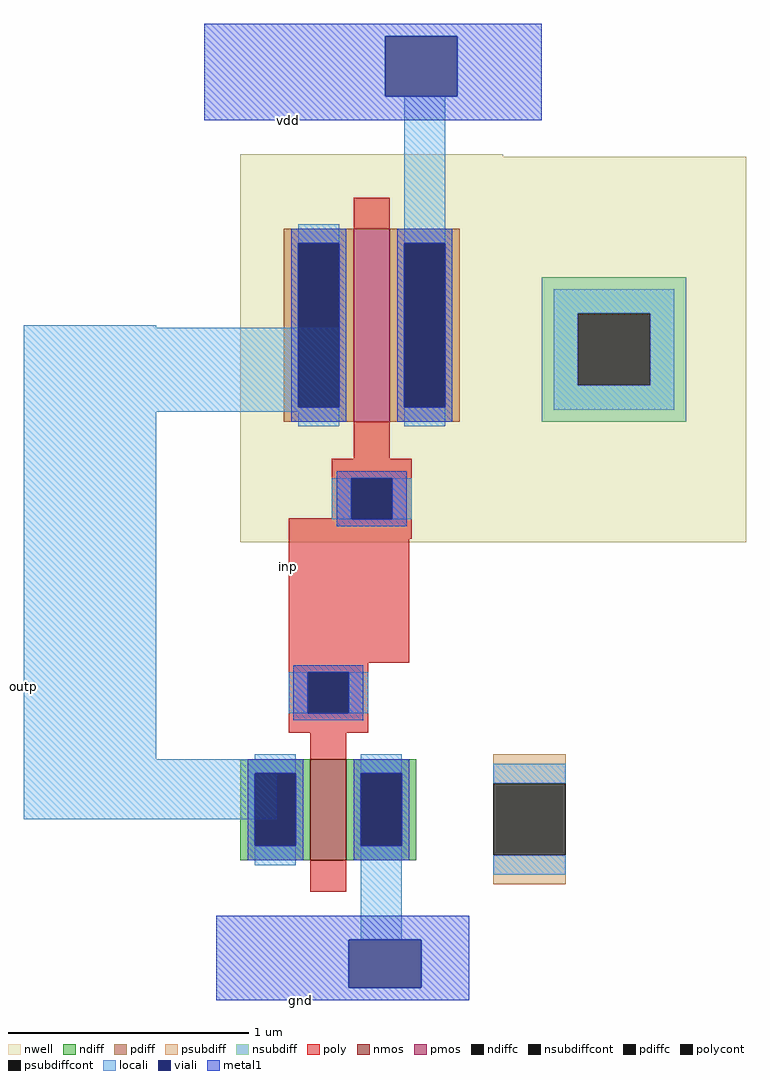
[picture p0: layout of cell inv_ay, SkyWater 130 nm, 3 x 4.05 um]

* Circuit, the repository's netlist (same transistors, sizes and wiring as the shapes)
* SPICE3 file created from inv_ay.ext - technology: sky130A

.subckt sky130_fd_pr__pfet_01v8_L3EZX8 w_n109_n144# a_15_n44# a_n73_n44# a_n33_n141#
+ VSUBS
X0 a_15_n44# a_n33_n141# a_n73_n44# w_n109_n144# sky130_fd_pr__pfet_01v8 ad=2.32e+11p pd=2.18e+06u as=2.32e+11p ps=2.18e+06u w=800000u l=150000u
.ends

.subckt sky130_fd_pr__nfet_01v8_A64BNL a_n33_33# a_15_n73# a_n73_n73# VSUBS
X0 a_15_n73# a_n33_33# a_n73_n73# VSUBS sky130_fd_pr__nfet_01v8 ad=1.218e+11p pd=1.42e+06u as=1.218e+11p ps=1.42e+06u w=420000u l=150000u
.ends

.subckt inv_ay inp vdd outp gnd
Xsky130_fd_pr__pfet_01v8_L3EZX8_0 w_210_280# vdd outp inp sky130_fd_pr__pfet_01v8_L3EZX8_0/VSUBS
+ sky130_fd_pr__pfet_01v8_L3EZX8
Xsky130_fd_pr__nfet_01v8_A64BNL_0 inp gnd outp sky130_fd_pr__pfet_01v8_L3EZX8_0/VSUBS
+ sky130_fd_pr__nfet_01v8_A64BNL
.ends

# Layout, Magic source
magic
tech sky130A
magscale 1 2
<< nwell >>
rect 210 280 420 600
<< psubdiff >>
rect 210 80 270 104
rect 210 -4 270 20
<< nsubdiff >>
rect 250 470 370 500
rect 250 410 280 470
rect 340 410 370 470
rect 250 380 370 410
<< psubdiffcont >>
rect 210 20 270 80
<< nsubdiffcont >>
rect 280 410 340 470
<< poly >>
rect 40 180 140 300
<< locali >>
rect 136 530 170 650
rect 260 470 360 490
rect -180 458 -70 460
rect -180 388 82 458
rect 260 410 280 470
rect 340 410 360 470
rect 260 390 360 410
rect -180 100 -70 388
rect -180 50 30 100
rect 210 80 270 96
rect 100 12 130 20
rect 100 -50 134 12
rect 210 4 270 20
<< viali >>
rect 120 650 180 700
rect 90 -90 150 -50
<< metal1 >>
rect -30 700 250 710
rect -30 650 120 700
rect 180 650 250 700
rect -30 630 250 650
rect -20 -50 190 -30
rect -20 -90 90 -50
rect 150 -90 190 -50
rect -20 -100 190 -90
use sky130_fd_pr__pfet_01v8_L3EZX8  sky130_fd_pr__pfet_01v8_L3EZX8_0
transform 1 0 109 0 1 424
box -109 -144 109 178
use sky130_fd_pr__nfet_01v8_A64BNL  sky130_fd_pr__nfet_01v8_A64BNL_0
transform 1 0 73 0 1 89
box -73 -99 73 99
<< labels >>
rlabel metal1 40 630 40 630 1 vdd
port 2 n
rlabel poly 40 260 40 260 7 inp
port 1 w
rlabel locali -180 160 -180 160 3 outp
port 3 e
rlabel metal1 50 -100 50 -100 5 gnd
port 4 s
<< end >>

# cell sky130_fd_pr__pfet_01v8_L3EZX8: kit device sky130_fd_pr__pfet_01v8, w 0.8 l 0.15 m 1 nf 1 diffcov 100 polycov 100 guard 0 glc 0 grc 0 gtc 0 gbc 0 tbcov 100 rlcov 100 topc 0 botc 1 poverlap 0 doverlap 0 lmin 0.15 wmin 0.42 compatible {sky130_fd_pr__pfet_01v8 sky130_fd_pr__pfet_01v8_lvt sky130_fd_pr__pfet_01v8_hvt sky130_fd_pr__pfet_g5v0d10v5} full_metal 0 viasrc 100 viadrn 100 viagate 100 viagb 0 viagr 0 viagl 0 viagt 0

# cell sky130_fd_pr__nfet_01v8_A64BNL: kit device sky130_fd_pr__nfet_01v8, w 0.420 l 0.150 m 1 nf 1 diffcov 100 polycov 100 guard 0 glc 0 grc 0 gtc 0 gbc 0 tbcov 100 rlcov 100 topc 1 botc 0 poverlap 0 doverlap 0 lmin 0.15 wmin 0.42 compatible {sky130_fd_pr__nfet_01v8 sky130_fd_pr__nfet_01v8_lvt sky130_fd_bs_flash__special_sonosfet_star sky130_fd_pr__nfet_g5v0d10v5 sky130_fd_pr__nfet_05v0_nvt sky130_fd_pr__nfet_03v3_nvt} full_metal 0 viasrc 100 viadrn 100 viagate 100 viagb 0 viagr 0 viagl 0 viagt 0
